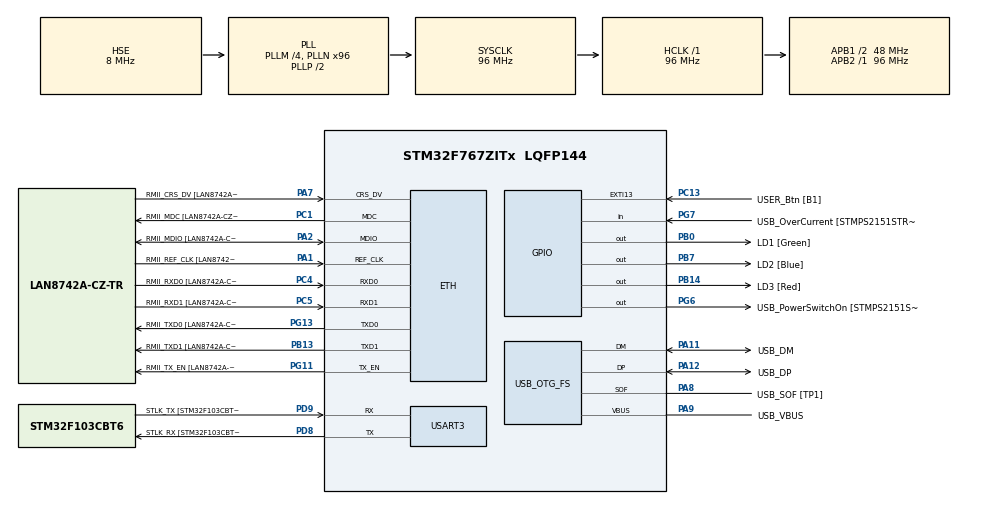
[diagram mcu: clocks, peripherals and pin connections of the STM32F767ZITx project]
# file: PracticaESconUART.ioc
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ETH.MediaInterface=HAL_ETH_RMII_MODE
ETH.PHY_Name=LAN8742A_PHY_ADDRESS
ETH.PHY_Value=0
ETH.PhyAddress=0
Mcu.Family=STM32F7
Mcu.Name=STM32F767ZITx
Mcu.Package=LQFP144
NVIC.PriorityGroup=NVIC_PRIORITYGROUP_4
PA1.GPIO_Label=RMII_REF_CLK [LAN8742A-CZ-TR_REFCLK0]
PA1.Mode=RMII
PA1.Signal=ETH_REF_CLK
PA10.GPIO_Label=USB_ID
PA10.Signal=USB_OTG_FS_ID
PA11.GPIO_Label=USB_DM
PA11.Mode=Device_Only
PA11.Signal=USB_OTG_FS_DM
PA12.GPIO_Label=USB_DP
PA12.Mode=Device_Only
PA12.Signal=USB_OTG_FS_DP
PA13.GPIO_Label=TMS
PA13.Mode=Serial_Wire
PA13.Signal=SYS_JTMS-SWDIO
PA14.GPIO_Label=TCK
PA14.Mode=Serial_Wire
PA14.Signal=SYS_JTCK-SWCLK
PA2.GPIO_Label=RMII_MDIO [LAN8742A-CZ-TR_MDIO]
PA2.Mode=RMII
PA2.Signal=ETH_MDIO
PA7.GPIO_Label=RMII_CRS_DV [LAN8742A-CZ-TR_CRS_DV]
PA7.Mode=RMII
PA7.Signal=ETH_CRS_DV
PA8.GPIO_Label=USB_SOF [TP1]
PA8.Mode=Activate_SOF_FS
PA8.Signal=USB_OTG_FS_SOF
PA9.GPIO_Label=USB_VBUS
PA9.Mode=Activate_VBUS
PA9.Signal=USB_OTG_FS_VBUS
PB0.GPIO_Label=LD1 [Green]
PB0.Signal=GPIO_Output
PB13.GPIO_Label=RMII_TXD1 [LAN8742A-CZ-TR_TXD1]
PB13.Mode=RMII
PB13.Signal=ETH_TXD1
PB14.GPIO_Label=LD3 [Red]
PB14.Signal=GPIO_Output
PB3.GPIO_Label=SWO
PB3.Signal=SYS_JTDO-SWO
PB7.GPIO_Label=LD2 [Blue]
PB7.Signal=GPIO_Output
PC1.GPIO_Label=RMII_MDC [LAN8742A-CZ-TR_MDC]
PC1.Mode=RMII
PC1.Signal=ETH_MDC
PC13.GPIO_Label=USER_Btn [B1]
PC13.Signal=GPXTI13
PC14/OSC32_IN.Mode=LSE-External-Oscillator
PC14/OSC32_IN.Signal=RCC_OSC32_IN
PC15/OSC32_OUT.Mode=LSE-External-Oscillator
PC15/OSC32_OUT.Signal=RCC_OSC32_OUT
PC4.GPIO_Label=RMII_RXD0 [LAN8742A-CZ-TR_RXD0]
PC4.Mode=RMII
PC4.Signal=ETH_RXD0
PC5.GPIO_Label=RMII_RXD1 [LAN8742A-CZ-TR_RXD1]
PC5.Mode=RMII
PC5.Signal=ETH_RXD1
PD8.GPIO_Label=STLK_RX [STM32F103CBT6_PA3]
PD8.Mode=Asynchronous
PD8.Signal=USART3_TX
PD9.GPIO_Label=STLK_TX [STM32F103CBT6_PA2]
PD9.Mode=Asynchronous
PD9.Signal=USART3_RX
PG11.GPIO_Label=RMII_TX_EN [LAN8742A-CZ-TR_TXEN]
PG11.Mode=RMII
PG11.Signal=ETH_TX_EN
PG13.GPIO_Label=RMII_TXD0 [LAN8742A-CZ-TR_TXD0]
PG13.Mode=RMII
PG13.Signal=ETH_TXD0
PG6.GPIO_Label=USB_PowerSwitchOn [STMPS2151STR_EN]
PG6.Signal=GPIO_Output
PG7.GPIO_Label=USB_OverCurrent [STMPS2151STR_FAULT]
PG7.Signal=GPIO_Input
PH0/OSC_IN.GPIO_Label=MCO [STM32F103CBT6_PA8]
PH0/OSC_IN.Mode=HSE-External-Clock-Source
PH0/OSC_IN.Signal=RCC_OSC_IN
PH1/OSC_OUT.Mode=HSE-External-Clock-Source
PH1/OSC_OUT.Signal=RCC_OSC_OUT
ProjectManager.HeapSize=0x200
ProjectManager.StackSize=0x400
ProjectManager.TargetToolchain=STM32CubeIDE
RCC.48MHZClocksFreq_Value=24000000
RCC.AHBFreq_Value=96000000
RCC.APB1CLKDivider=RCC_HCLK_DIV2
RCC.APB1Freq_Value=48000000
RCC.APB1TimFreq_Value=96000000
RCC.APB2Freq_Value=96000000
RCC.APB2TimFreq_Value=96000000
RCC.CortexFreq_Value=96000000
RCC.HCLKFreq_Value=96000000
RCC.HSE_VALUE=8000000
RCC.HSI_VALUE=16000000
RCC.PLLM=4
RCC.PLLMUL=RCC_PLL_MUL9
RCC.PLLN=96
RCC.PLLQ=4
RCC.PRESCALERUSB=RCC_USBCLKSOURCE_PLL_DIV1_5
RCC.SYSCLKFreq_VALUE=96000000
RCC.SYSCLKSource=RCC_SYSCLKSOURCE_PLLCLK
RCC.SYSCLKSourceVirtual=RCC_SYSCLKSOURCE_PLLCLK
RCC.USBFreq_Value=48000000
RCC.VCOOutputFreq_Value=192000000
USART3.VirtualMode-Asynchronous=VM_ASYNC
USB_OTG_FS.VirtualMode=Device_Only
board=NUCLEO-F767ZI

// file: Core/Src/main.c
/* USER CODE BEGIN Header */
/**
  ******************************************************************************
  * @file           : main.c
  * @brief          : Main program body
  ******************************************************************************
  * @attention
  *
  * Copyright (c) 2025 STMicroelectronics.
  * All rights reserved.
  *
  * This software is licensed under terms that can be found in the LICENSE file
  * in the root directory of this software component.
  * If no LICENSE file comes with this software, it is provided AS-IS.
  *
  ******************************************************************************
  */
/* USER CODE END Header */
#include "main.h"
#include "string.h"

#define DELAY 100

#if defined ( __ICCARM__ ) /*!< IAR Compiler */
#pragma location=0x2007c000
ETH_DMADescTypeDef  DMARxDscrTab[ETH_RX_DESC_CNT]; /* Ethernet Rx DMA Descriptors */
#pragma location=0x2007c0a0
ETH_DMADescTypeDef  DMATxDscrTab[ETH_TX_DESC_CNT]; /* Ethernet Tx DMA Descriptors */

#elif defined ( __CC_ARM )  /* MDK ARM Compiler */

__attribute__((at(0x2007c000))) ETH_DMADescTypeDef  DMARxDscrTab[ETH_RX_DESC_CNT]; /* Ethernet Rx DMA Descriptors */
__attribute__((at(0x2007c0a0))) ETH_DMADescTypeDef  DMATxDscrTab[ETH_TX_DESC_CNT]; /* Ethernet Tx DMA Descriptors */

#elif defined ( __GNUC__ ) /* GNU Compiler */

ETH_DMADescTypeDef DMARxDscrTab[ETH_RX_DESC_CNT] __attribute__((section(".RxDecripSection"))); /* Ethernet Rx DMA Descriptors */
ETH_DMADescTypeDef DMATxDscrTab[ETH_TX_DESC_CNT] __attribute__((section(".TxDecripSection")));   /* Ethernet Tx DMA Descriptors */
#endif

ETH_TxPacketConfig TxConfig;

ETH_HandleTypeDef heth;

UART_HandleTypeDef huart3;

PCD_HandleTypeDef hpcd_USB_OTG_FS;

void SystemClock_Config(void);
static void MX_GPIO_Init(void);
static void MX_ETH_Init(void);
static void MX_USART3_UART_Init(void);
static void MX_USB_OTG_FS_PCD_Init(void);

int main(void)
{

  /* MCU Configuration--------------------------------------------------------*/

  /* Reset of all peripherals, Initializes the Flash interface and the Systick. */
  HAL_Init();

  /* Configure the system clock */
  SystemClock_Config();

  /* Initialize all configured peripherals */
  MX_GPIO_Init();
  MX_ETH_Init();
  MX_USART3_UART_Init();
  MX_USB_OTG_FS_PCD_Init();

  /* Infinite loop */
  /* USER CODE BEGIN WHILE */
  int contador = -2;
   int button_pressed = 0;
   int last_contador = -1;

  uint8_t MENSAJE[]=" Botón presionado 'n' veces: ";
    uint8_t M1[]=" LED1 encendido \n\r";
    uint8_t M2[]=" LED2 encendido \n\r";
    uint8_t M3[]=" LED3 encendido \n\r";
    uint8_t M1off[]=" LED1 apagado \n\r";
    uint8_t M2off[]=" LED2 apagado \n\r";
    uint8_t M3off[]=" LED3 apagado \n\r";

 while (1)

	 {
		   if (HAL_GPIO_ReadPin(GPIOC, GPIO_PIN_13) == GPIO_PIN_RESET) {
		        if (!button_pressed) {
		            contador++;
		            HAL_Delay(DELAY);
		            if (contador > 5) {
		                contador = 0;
		            }
		            button_pressed = 1;
		        }
		    } else {
		        button_pressed = 0;
		    }

		    // Solo ejecutar si hay un cambio en el contador
		    if (contador != last_contador) {
		        last_contador = contador; // Actualiza el último estado impreso

		        switch (contador) {
		            case 0:
		                HAL_GPIO_WritePin(GPIOB, LD1_Pin, GPIO_PIN_SET);
		                HAL_UART_Transmit(&huart3, MENSAJE, strlen(MENSAJE), HAL_MAX_DELAY);
		                print_number(contador);
		                HAL_UART_Transmit(&huart3, M1, strlen(M1), HAL_MAX_DELAY);
		                break;
		            case 1:
		                HAL_GPIO_WritePin(GPIOB, LD2_Pin, GPIO_PIN_SET);
		                HAL_UART_Transmit(&huart3, MENSAJE, strlen(MENSAJE), HAL_MAX_DELAY);
		                print_number(contador);
		                HAL_UART_Transmit(&huart3, M2, strlen(M2), HAL_MAX_DELAY);
		                break;
		            case 2:
		                HAL_GPIO_WritePin(GPIOB, LD3_Pin, GPIO_PIN_SET);
		                HAL_UART_Transmit(&huart3, MENSAJE, strlen(MENSAJE), HAL_MAX_DELAY);
		                print_number(contador);
		                HAL_UART_Transmit(&huart3, M3, strlen(M3), HAL_MAX_DELAY);
		                break;
		            case 3:
		                HAL_GPIO_WritePin(GPIOB, LD3_Pin, GPIO_PIN_RESET);
		                HAL_UART_Transmit(&huart3, MENSAJE, strlen(MENSAJE), HAL_MAX_DELAY);
		                print_number(contador);
		                HAL_UART_Transmit(&huart3, M3off, strlen(M3off), HAL_MAX_DELAY);
		                break;
		            case 4:
		                HAL_GPIO_WritePin(GPIOB, LD2_Pin, GPIO_PIN_RESET);
		                HAL_UART_Transmit(&huart3, MENSAJE, strlen(MENSAJE), HAL_MAX_DELAY);
		                print_number(contador);
		                HAL_UART_Transmit(&huart3, M2off, strlen(M2off), HAL_MAX_DELAY);
		                break;
		            case 5:
		                HAL_GPIO_WritePin(GPIOB, LD1_Pin, GPIO_PIN_RESET);
		                HAL_UART_Transmit(&huart3, MENSAJE, strlen(MENSAJE), HAL_MAX_DELAY);
		                print_number(contador);
		                HAL_UART_Transmit(&huart3, M1off, strlen(M1off), HAL_MAX_DELAY);
		                break;
		        }
		    }

    /* USER CODE END WHILE */

  }
}

void SystemClock_Config(void)
{
  RCC_OscInitTypeDef RCC_OscInitStruct = {0};
  RCC_ClkInitTypeDef RCC_ClkInitStruct = {0};

  /** Configure LSE Drive Capability
  */
  HAL_PWR_EnableBkUpAccess();

  /** Configure the main internal regulator output voltage
  */
  __HAL_RCC_PWR_CLK_ENABLE();
  __HAL_PWR_VOLTAGESCALING_CONFIG(PWR_REGULATOR_VOLTAGE_SCALE3);

  /** Initializes the RCC Oscillators according to the specified parameters
  * in the RCC_OscInitTypeDef structure.
  */
  RCC_OscInitStruct.OscillatorType = RCC_OSCILLATORTYPE_HSE;
  RCC_OscInitStruct.HSEState = RCC_HSE_BYPASS;
  RCC_OscInitStruct.PLL.PLLState = RCC_PLL_ON;
  RCC_OscInitStruct.PLL.PLLSource = RCC_PLLSOURCE_HSE;
  RCC_OscInitStruct.PLL.PLLM = 4;
  RCC_OscInitStruct.PLL.PLLN = 96;
  RCC_OscInitStruct.PLL.PLLP = RCC_PLLP_DIV2;
  RCC_OscInitStruct.PLL.PLLQ = 4;
  RCC_OscInitStruct.PLL.PLLR = 2;
  if (HAL_RCC_OscConfig(&RCC_OscInitStruct) != HAL_OK)
  {
    Error_Handler();
  }

  /** Activate the Over-Drive mode
  */
  if (HAL_PWREx_EnableOverDrive() != HAL_OK)
  {
    Error_Handler();
  }

  /** Initializes the CPU, AHB and APB buses clocks
  */
  RCC_ClkInitStruct.ClockType = RCC_CLOCKTYPE_HCLK|RCC_CLOCKTYPE_SYSCLK
                              |RCC_CLOCKTYPE_PCLK1|RCC_CLOCKTYPE_PCLK2;
  RCC_ClkInitStruct.SYSCLKSource = RCC_SYSCLKSOURCE_PLLCLK;
  RCC_ClkInitStruct.AHBCLKDivider = RCC_SYSCLK_DIV1;
  RCC_ClkInitStruct.APB1CLKDivider = RCC_HCLK_DIV2;
  RCC_ClkInitStruct.APB2CLKDivider = RCC_HCLK_DIV1;

  if (HAL_RCC_ClockConfig(&RCC_ClkInitStruct, FLASH_LATENCY_3) != HAL_OK)
  {
    Error_Handler();
  }
}

static void MX_ETH_Init(void)
{

   static uint8_t MACAddr[6];

  heth.Instance = ETH;
  MACAddr[0] = 0x00;
  MACAddr[1] = 0x80;
  MACAddr[2] = 0xE1;
  MACAddr[3] = 0x00;
  MACAddr[4] = 0x00;
  MACAddr[5] = 0x00;
  heth.Init.MACAddr = &MACAddr[0];
  heth.Init.MediaInterface = HAL_ETH_RMII_MODE;
  heth.Init.TxDesc = DMATxDscrTab;
  heth.Init.RxDesc = DMARxDscrTab;
  heth.Init.RxBuffLen = 1524;

  if (HAL_ETH_Init(&heth) != HAL_OK)
  {
    Error_Handler();
  }

  memset(&TxConfig, 0 , sizeof(ETH_TxPacketConfig));
  TxConfig.Attributes = ETH_TX_PACKETS_FEATURES_CSUM | ETH_TX_PACKETS_FEATURES_CRCPAD;
  TxConfig.ChecksumCtrl = ETH_CHECKSUM_IPHDR_PAYLOAD_INSERT_PHDR_CALC;
  TxConfig.CRCPadCtrl = ETH_CRC_PAD_INSERT;

}

static void MX_USART3_UART_Init(void)
{

  huart3.Instance = USART3;
  huart3.Init.BaudRate = 115200;
  huart3.Init.WordLength = UART_WORDLENGTH_8B;
  huart3.Init.StopBits = UART_STOPBITS_1;
  huart3.Init.Parity = UART_PARITY_NONE;
  huart3.Init.Mode = UART_MODE_TX_RX;
  huart3.Init.HwFlowCtl = UART_HWCONTROL_NONE;
  huart3.Init.OverSampling = UART_OVERSAMPLING_16;
  huart3.Init.OneBitSampling = UART_ONE_BIT_SAMPLE_DISABLE;
  huart3.AdvancedInit.AdvFeatureInit = UART_ADVFEATURE_NO_INIT;
  if (HAL_UART_Init(&huart3) != HAL_OK)
  {
    Error_Handler();
  }

}

static void MX_USB_OTG_FS_PCD_Init(void)
{

  hpcd_USB_OTG_FS.Instance = USB_OTG_FS;
  hpcd_USB_OTG_FS.Init.dev_endpoints = 6;
  hpcd_USB_OTG_FS.Init.speed = PCD_SPEED_FULL;
  hpcd_USB_OTG_FS.Init.dma_enable = DISABLE;
  hpcd_USB_OTG_FS.Init.phy_itface = PCD_PHY_EMBEDDED;
  hpcd_USB_OTG_FS.Init.Sof_enable = ENABLE;
  hpcd_USB_OTG_FS.Init.low_power_enable = DISABLE;
  hpcd_USB_OTG_FS.Init.lpm_enable = DISABLE;
  hpcd_USB_OTG_FS.Init.vbus_sensing_enable = ENABLE;
  hpcd_USB_OTG_FS.Init.use_dedicated_ep1 = DISABLE;
  if (HAL_PCD_Init(&hpcd_USB_OTG_FS) != HAL_OK)
  {
    Error_Handler();
  }

}

static void MX_GPIO_Init(void)
{
  GPIO_InitTypeDef GPIO_InitStruct = {0};

  /* GPIO Ports Clock Enable */
  __HAL_RCC_GPIOC_CLK_ENABLE();
  __HAL_RCC_GPIOH_CLK_ENABLE();
  __HAL_RCC_GPIOA_CLK_ENABLE();
  __HAL_RCC_GPIOB_CLK_ENABLE();
  __HAL_RCC_GPIOD_CLK_ENABLE();
  __HAL_RCC_GPIOG_CLK_ENABLE();

  /*Configure GPIO pin Output Level */
  HAL_GPIO_WritePin(GPIOB, LD1_Pin|LD3_Pin|LD2_Pin, GPIO_PIN_RESET);

  /*Configure GPIO pin Output Level */
  HAL_GPIO_WritePin(USB_PowerSwitchOn_GPIO_Port, USB_PowerSwitchOn_Pin, GPIO_PIN_RESET);

  /*Configure GPIO pin : USER_Btn_Pin */
  GPIO_InitStruct.Pin = USER_Btn_Pin;
  GPIO_InitStruct.Mode = GPIO_MODE_IT_RISING;
  GPIO_InitStruct.Pull = GPIO_NOPULL;
  HAL_GPIO_Init(USER_Btn_GPIO_Port, &GPIO_InitStruct);

  /*Configure GPIO pins : LD1_Pin LD3_Pin LD2_Pin */
  GPIO_InitStruct.Pin = LD1_Pin|LD3_Pin|LD2_Pin;
  GPIO_InitStruct.Mode = GPIO_MODE_OUTPUT_PP;
  GPIO_InitStruct.Pull = GPIO_NOPULL;
  GPIO_InitStruct.Speed = GPIO_SPEED_FREQ_LOW;
  HAL_GPIO_Init(GPIOB, &GPIO_InitStruct);

  /*Configure GPIO pin : USB_PowerSwitchOn_Pin */
  GPIO_InitStruct.Pin = USB_PowerSwitchOn_Pin;
  GPIO_InitStruct.Mode = GPIO_MODE_OUTPUT_PP;
  GPIO_InitStruct.Pull = GPIO_NOPULL;
  GPIO_InitStruct.Speed = GPIO_SPEED_FREQ_LOW;
  HAL_GPIO_Init(USB_PowerSwitchOn_GPIO_Port, &GPIO_InitStruct);

  /*Configure GPIO pin : USB_OverCurrent_Pin */
  GPIO_InitStruct.Pin = USB_OverCurrent_Pin;
  GPIO_InitStruct.Mode = GPIO_MODE_INPUT;
  GPIO_InitStruct.Pull = GPIO_NOPULL;
  HAL_GPIO_Init(USB_OverCurrent_GPIO_Port, &GPIO_InitStruct);

}
void print_number(int num) {

	char buffer[6];  // Soporta hasta 5 dígitos + '\0'
    int index = 0;

    num = num + 1;  // Sumar 1 al número antes de procesarlo

    do {
        buffer[index++] = (num % 10) + '0';
        num /= 10;
    } while (num > 0);

    // Invertir el buffer para obtener el número en el orden correcto
    for (int i = 0, j = index - 1; i < j; i++, j--) {
        char temp = buffer[i];
        buffer[i] = buffer[j];
        buffer[j] = temp;
    }

    buffer[index] = '\0';  // Terminar el string

    // Enviar el número por UART
    HAL_UART_Transmit(&huart3, (uint8_t*)buffer, index, HAL_MAX_DELAY);
    HAL_UART_Transmit(&huart3, (uint8_t*)"\r\n", 2, HAL_MAX_DELAY);
}

void Error_Handler(void)
{
  __disable_irq();
  while (1)
  {
  }
}
